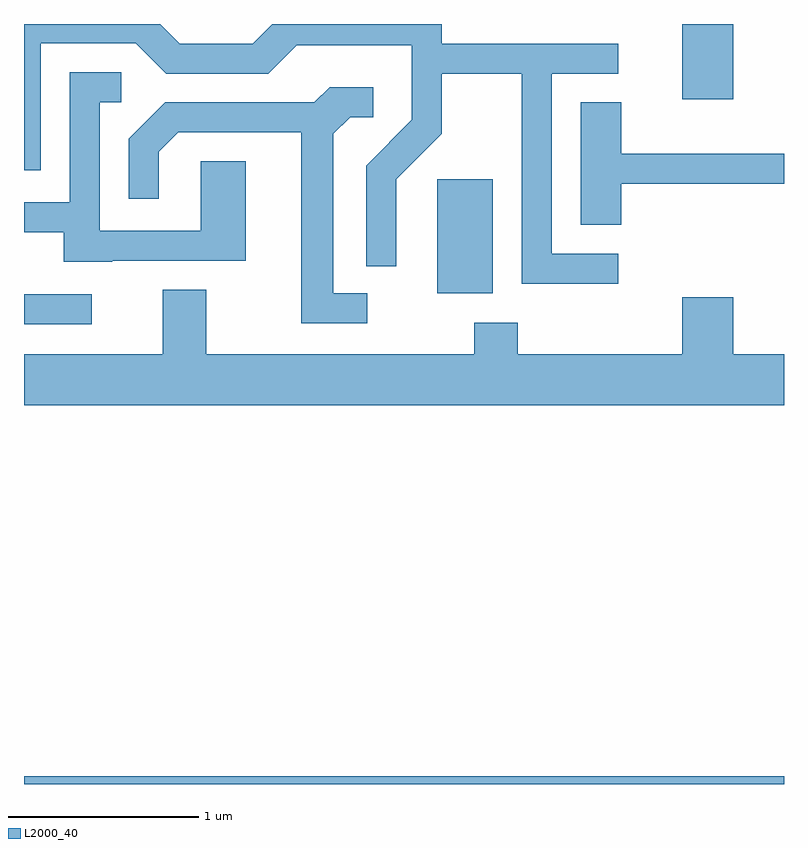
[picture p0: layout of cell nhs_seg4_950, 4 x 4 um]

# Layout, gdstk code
import gdstk
lib = gdstk.Library(unit=1e-6, precision=1e-09)
def R(c, l, rs):  # rectangles x0, y0, x1, y1
    for r in rs: c.add(gdstk.rectangle(r[:2], r[2:], *l))
def P(c, l, *ps):  # polygons
    for p in ps: c.add(gdstk.Polygon(p, *l))
L2000_40 = (2000, 40)

nhs_seg4_950 = lib.new_cell('nhs_seg4_950')
R(nhs_seg4_950, L2000_40, [(211.611,1385.982,215.611,1386.024), (211.611,1388.401,211.968,1388.559), (213.786,1388.566,214.079,1389.164), (215.076,1389.586,215.344,1389.982)])
P(nhs_seg4_950, L2000_40, [(214.738,1388.774),(214.389,1388.774),(214.389,1389.721),(214.738,1389.721),(214.738,1389.879),(213.809,1389.879),(213.809,1389.982),(212.917,1389.982),(212.814,1389.879),(212.432,1389.879),(212.329,1389.982),(211.611,1389.982),(211.611,1389.211),(211.699,1389.211),(211.699,1389.881),(212.199,1389.881),(212.359,1389.721),(212.897,1389.721),(213.047,1389.871),(213.651,1389.871),(213.651,1389.477),(213.411,1389.237),(213.411,1388.708),(213.569,1388.708),(213.569,1389.164),(213.809,1389.404),(213.809,1389.721),(214.231,1389.721),(214.231,1388.616),(214.738,1388.616)],
  [(212.075,1388.736),(212.779,1388.736),(212.779,1389.259),(212.541,1389.259),(212.541,1388.894),(212.009,1388.894),(212.009,1389.571),(212.123,1389.571),(212.123,1389.729),(211.851,1389.729),(211.851,1389.044),(211.611,1389.044),(211.611,1388.886),(211.821,1388.886),(211.821,1388.731),(212.075,1388.731)],
  [(213.418,1388.564),(213.239,1388.564),(213.239,1389.404),(213.327,1389.491),(213.448,1389.491),(213.448,1389.649),(213.219,1389.649),(213.139,1389.569),(212.354,1389.569),(212.161,1389.377),(212.161,1389.063),(212.319,1389.063),(212.319,1389.309),(212.422,1389.411),(213.071,1389.411),(213.071,1388.406),(213.418,1388.406)],
  [(214.754,1389.141),(215.611,1389.141),(215.611,1389.299),(214.754,1389.299),(214.754,1389.569),(214.541,1389.569),(214.541,1388.926),(214.754,1388.926)],
  [(215.611,1388.244),(215.344,1388.244),(215.344,1388.544),(215.076,1388.544),(215.076,1388.244),(214.209,1388.244),(214.209,1388.409),(213.981,1388.409),(213.981,1388.244),(212.569,1388.244),(212.569,1388.584),(212.341,1388.584),(212.341,1388.244),(211.611,1388.244),(211.611,1387.976),(215.611,1387.976)])

lib.write_gds('nhs_seg4_950.gds')
